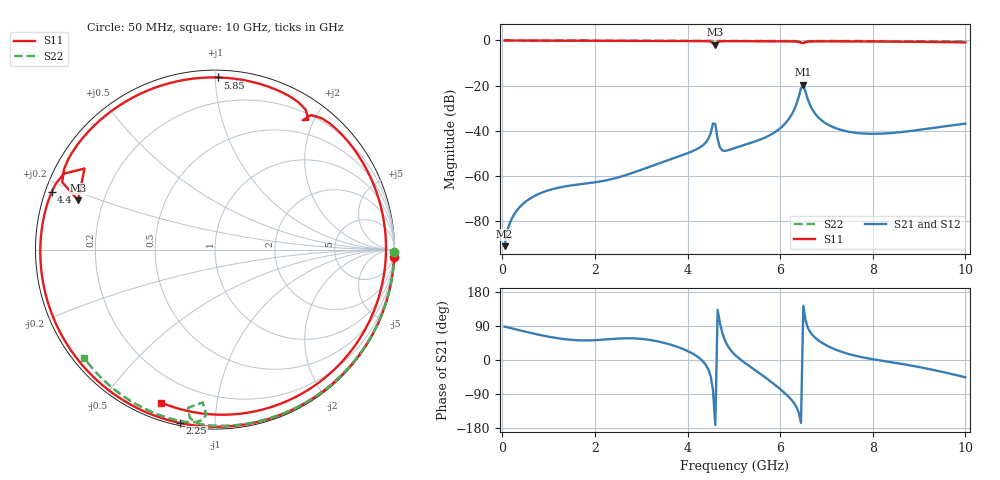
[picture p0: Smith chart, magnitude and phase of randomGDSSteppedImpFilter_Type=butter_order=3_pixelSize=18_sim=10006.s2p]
! freq	dB(S11)	phase(S11)	dB(S12)	phase(S12)
!  dB(S21)	phase(S21)	dB(S22)	phase(S22)
!S-par simulation data
#  GHz  S  DB  R 50
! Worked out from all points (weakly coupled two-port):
!   200 points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, 50 MHz to 10 GHz, reference 50 ohm
!   highest |S21| = -19.67 dB at 6.5 GHz (marker M1); lowest = -91.3 dB at 50 MHz (marker M2)
!   lowest |S11| = -1.8 dB at 4.6 GHz (marker M3), VSWR 9.56, Z = 5.39 + j8.63 ohm
!   |S11| at or under -10 dB: nowhere
!   |S22| runs from -1.4 to 0.0 dB; largest |S21 - S12| = 0
!   S11 on the Smith chart (normalised r, x): 50 MHz: 1, -49; 2.25 GHz: 0.01, -0.82; 4.4 GHz: 0.02, +0.17; 5.85 GHz: 0.04, +1.02; 10 GHz: 0.08, -0.71
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0.05  -0.01 -2.4  -91.26 88.1  -91.26 88.1  -0.00 -0.8
0.2  -0.01 -9.3  -79.27 83.7  -79.27 83.7  -0.00 -3.2
0.75  -0.04 -34.6  -68.43 67.7  -68.43 67.7  -0.01 -12.1
1.75  -0.10 -79.4  -63.60 51.6  -63.60 51.6  -0.04 -27.9
2.25  -0.13 -101.3  -62.03 54.3  -62.03 54.3  -0.05 -35.7
3.4  -0.19 -151.7  -54.43 48.0  -54.43 48.0  -0.07 -53.2
4.4  -0.31 160.6  -45.13 -13.9  -45.13 -13.9  -0.10 -67.8
4.55  -1.35 148.1  -36.84 -80.4  -36.84 -80.4  -0.11 -70.0
4.6  -1.82 160.2  -37.04 -171.6  -37.04 -171.6  -0.12 -70.6
4.65  -0.63 156.2  -43.82 132.2  -43.82 132.2  -0.11 -71.3
4.75  -0.36 148.5  -48.76 72.0  -48.76 72.0  -0.11 -72.7
5.05  -0.32 131.9  -47.52 10.8  -47.52 10.8  -0.12 -77.0
5.85  -0.36 89.0  -41.18 -61.8  -41.18 -61.8  -0.15 -88.3
6.25  -0.42 66.5  -32.82 -105.9  -32.82 -105.9  -0.22 -94.7
6.5  -1.20 55.9  -19.67 143.1  -19.67 143.1  -1.37 -94.6
6.7  -0.42 44.6  -30.77 65.6  -30.77 65.6  -0.27 -97.0
6.95  -0.39 30.4  -36.31 42.0  -36.31 42.0  -0.23 -101.2
7.3  -0.41 11.8  -39.60 22.7  -39.60 22.7  -0.24 -106.1
7.8  -0.44 -13.4  -41.29 6.6  -41.29 6.6  -0.27 -112.6
8.35  -0.50 -39.3  -41.15 -4.9  -41.15 -4.9  -0.31 -119.6
9.15  -0.64 -74.0  -39.25 -22.2  -39.25 -22.2  -0.38 -129.6
10  -0.88 -109.3  -36.89 -45.6  -36.89 -45.6  -0.48 -140.3
